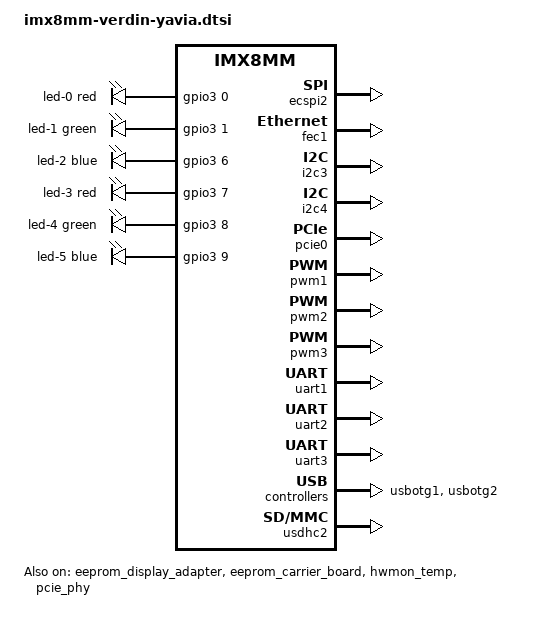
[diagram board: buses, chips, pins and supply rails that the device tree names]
// SPDX-License-Identifier: GPL-2.0-or-later OR MIT
/*
 * Copyright 2023 Toradex
 */

#include <dt-bindings/leds/common.h>

/ {
	leds {
		compatible = "gpio-leds";

		pinctrl-names = "default";
		pinctrl-0 = <&pinctrl_leds_yavia>;

		/* SODIMM 52 - LD1_RED */
		led-0 {
			color = <LED_COLOR_ID_RED>;
			function = LED_FUNCTION_DEBUG;
			function-enumerator = <1>;
			gpios = <&gpio3 0 GPIO_ACTIVE_HIGH>;
		};
		/* SODIMM 54 - LD1_GREEN */
		led-1 {
			color = <LED_COLOR_ID_GREEN>;
			function = LED_FUNCTION_DEBUG;
			function-enumerator = <1>;
			gpios = <&gpio3 1 GPIO_ACTIVE_HIGH>;
		};
		/* SODIMM 56 - LD1_BLUE */
		led-2 {
			color = <LED_COLOR_ID_BLUE>;
			function = LED_FUNCTION_DEBUG;
			function-enumerator = <1>;
			gpios = <&gpio3 6 GPIO_ACTIVE_HIGH>;
		};
		/* SODIMM 58 - LD2_RED */
		led-3 {
			color = <LED_COLOR_ID_RED>;
			function = LED_FUNCTION_DEBUG;
			function-enumerator = <2>;
			gpios = <&gpio3 7 GPIO_ACTIVE_HIGH>;
		};
		/* SODIMM 60 - LD2_GREEN */
		led-4 {
			color = <LED_COLOR_ID_GREEN>;
			function = LED_FUNCTION_DEBUG;
			function-enumerator = <2>;
			gpios = <&gpio3 8 GPIO_ACTIVE_HIGH>;
		};
		/* SODIMM 62 - LD2_BLUE */
		led-5 {
			color = <LED_COLOR_ID_BLUE>;
			function = LED_FUNCTION_DEBUG;
			function-enumerator = <2>;
			gpios = <&gpio3 9 GPIO_ACTIVE_HIGH>;
		};
	};
};

/* Verdin SPI_1 */
&ecspi2 {
	status = "okay";
};

/* EEPROM on display adapter boards */
&eeprom_display_adapter {
	status = "okay";
};

/* EEPROM on Verdin yavia board */
&eeprom_carrier_board {
	status = "okay";
};

&fec1 {
	status = "okay";
};

&gpio3 {
	pinctrl-names = "default";
	pinctrl-0 = <&pinctrl_gpios_ext_yavia>;
};

&hwmon_temp {
	status = "okay";
};

&i2c3 {
	status = "okay";
};

/* Verdin I2C_1 */
&i2c4 {
	status = "okay";
};

/* Verdin PCIE_1 */
&pcie0 {
	status = "okay";
};

&pcie_phy {
	status = "okay";
};

/* Verdin PWM_3_DSI */
&pwm1 {
	status = "okay";
};

/* Verdin PWM_1 */
&pwm2 {
	status = "okay";
};

/* Verdin PWM_2 */
&pwm3 {
	status = "okay";
};

/* Verdin UART_3 */
&uart1 {
	status = "okay";
};

/* Verdin UART_1 */
&uart2 {
	status = "okay";
};

/* Verdin UART_2 */
&uart3 {
	status = "okay";
};

/* Verdin USB_1 */
&usbotg1 {
	status = "okay";
};

/* Verdin USB_2 */
&usbotg2 {
	status = "okay";
};

/* Verdin SD_1 */
&usdhc2 {
	status = "okay";
};

&iomuxc {
	pinctrl_leds_yavia: ledsyaviagrp {
		fsl,pins = <
			MX8MM_IOMUXC_NAND_ALE_GPIO3_IO0		0x106	/* SODIMM 52 */
			MX8MM_IOMUXC_NAND_CE0_B_GPIO3_IO1	0x106	/* SODIMM 54 */
			MX8MM_IOMUXC_NAND_DATA00_GPIO3_IO6	0x106	/* SODIMM 56 */
			MX8MM_IOMUXC_NAND_DATA01_GPIO3_IO7	0x106	/* SODIMM 58 */
			MX8MM_IOMUXC_NAND_DATA02_GPIO3_IO8	0x106	/* SODIMM 60 */
			MX8MM_IOMUXC_NAND_DATA03_GPIO3_IO9	0x106	/* SODIMM 62 */
		>;
	};

	pinctrl_gpios_ext_yavia: gpiosextyaviagrp {
		fsl,pins = <
			MX8MM_IOMUXC_NAND_CE1_B_GPIO3_IO2	0x106	/* SODIMM 64 */
			MX8MM_IOMUXC_NAND_DQS_GPIO3_IO14	0x106	/* SODIMM 66 */
		>;
	};
};
